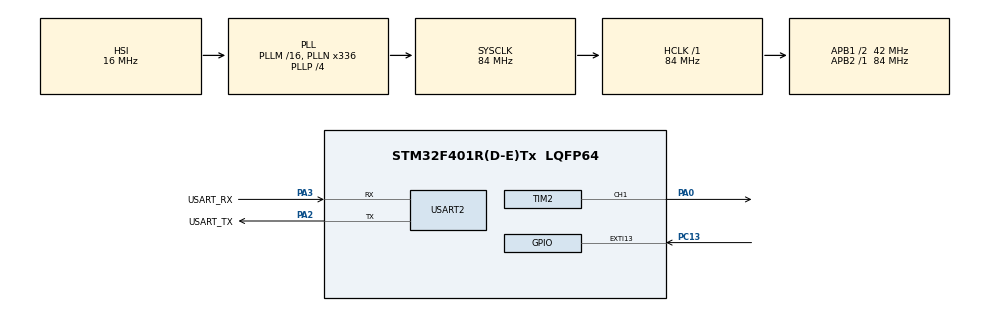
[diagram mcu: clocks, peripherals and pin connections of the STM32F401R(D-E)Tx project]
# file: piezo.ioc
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Mcu.Family=STM32F4
Mcu.Name=STM32F401R(D-E)Tx
Mcu.Package=LQFP64
NVIC.EXTI15_10_IRQn=true\:0\:0\:false\:false\:true\:true\:true
NVIC.PriorityGroup=NVIC_PRIORITYGROUP_0
PA0-WKUP.Signal=S_TIM2_CH1_ETR
PA13.GPIO_Label=TMS
PA13.Mode=Serial_Wire
PA13.Signal=SYS_JTMS-SWDIO
PA14.GPIO_Label=TCK
PA14.Mode=Serial_Wire
PA14.Signal=SYS_JTCK-SWCLK
PA2.GPIO_Label=USART_TX
PA2.GPIO_Mode=GPIO_MODE_AF_PP
PA2.GPIO_PuPd=GPIO_NOPULL
PA2.GPIO_Speed=GPIO_SPEED_FREQ_LOW
PA2.Mode=Asynchronous
PA2.Signal=USART2_TX
PA3.GPIO_Label=USART_RX
PA3.GPIO_Mode=GPIO_MODE_AF_PP
PA3.GPIO_PuPd=GPIO_NOPULL
PA3.GPIO_Speed=GPIO_SPEED_FREQ_LOW
PA3.Mode=Asynchronous
PA3.Signal=USART2_RX
PB3.GPIO_Label=SWO
PB3.Signal=SYS_JTDO-SWO
PC13-ANTI_TAMP.Signal=GPXTI13
PC14-OSC32_IN.Mode=LSE-External-Oscillator
PC14-OSC32_IN.Signal=RCC_OSC32_IN
PC15-OSC32_OUT.Mode=LSE-External-Oscillator
PC15-OSC32_OUT.Signal=RCC_OSC32_OUT
PH0\ -\ OSC_IN.Mode=HSE-External-Clock-Source
PH0\ -\ OSC_IN.Signal=RCC_OSC_IN
PH1\ -\ OSC_OUT.Mode=HSE-External-Clock-Source
PH1\ -\ OSC_OUT.Signal=RCC_OSC_OUT
ProjectManager.HeapSize=0x200
ProjectManager.StackSize=0x400
ProjectManager.TargetToolchain=STM32CubeIDE
RCC.48MHZClocksFreq_Value=48000000
RCC.AHBFreq_Value=84000000
RCC.APB1CLKDivider=RCC_HCLK_DIV2
RCC.APB1Freq_Value=42000000
RCC.APB1TimFreq_Value=84000000
RCC.APB2Freq_Value=84000000
RCC.APB2TimFreq_Value=84000000
RCC.CortexFreq_Value=84000000
RCC.HCLKFreq_Value=84000000
RCC.HSE_VALUE=8000000
RCC.HSI_VALUE=16000000
RCC.PLLN=336
RCC.PLLP=RCC_PLLP_DIV4
RCC.PLLQ=7
RCC.SYSCLKFreq_VALUE=84000000
RCC.SYSCLKSource=RCC_SYSCLKSOURCE_PLLCLK
RCC.VCOOutputFreq_Value=336000000
SH.S_TIM2_CH1_ETR.0=TIM2_CH1,PWM Generation1 CH1
TIM2.Channel-PWM\ Generation1\ CH1=TIM_CHANNEL_1
TIM2.Period=249
TIM2.Prescaler=83
TIM2.Pulse-PWM\ Generation1\ CH1=0
USART2.VirtualMode=VM_ASYNC
board=NUCLEO-F401RE

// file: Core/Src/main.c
/* USER CODE BEGIN Header */
/**
  ******************************************************************************
  * @file           : main.c
  * @brief          : Main program body
  ******************************************************************************
  * @attention
  *
  * <h2><center>&copy; Copyright (c) 2021 STMicroelectronics.
  * All rights reserved.</center></h2>
  *
  * This software component is licensed by ST under BSD 3-Clause license,
  * the "License"; You may not use this file except in compliance with the
  * License. You may obtain a copy of the License at:
  *                        opensource.org/licenses/BSD-3-Clause
  *
  ******************************************************************************
  */
/* USER CODE END Header */
#include "main.h"

TIM_HandleTypeDef htim2;

UART_HandleTypeDef huart2;

void SystemClock_Config(void);
static void MX_GPIO_Init(void);
static void MX_USART2_UART_Init(void);
static void MX_TIM2_Init(void);

/* USER CODE BEGIN 0 */
float noteArray[8] = {262, 294, 330, 349, 392, 440, 494, 523}; //C D E F G A B C
const int C_LOW = 0, D = 1, E = 2, F = 3, G = 4, A = 5, B = 6, C_HIGH = 7;
const int QUARTER = 3000000, HALF = 5000000, FULL = 10000000, BURST = 300000;

void changeFrequency(int note /* Hz */) {
	int arr = 1000000/noteArray[note];

	HAL_TIM_PWM_Stop(&htim2, TIM_CHANNEL_1);
	TIM_OC_InitTypeDef sConfigOC;
	htim2.Init.Period = arr - 1;
	HAL_TIM_PWM_Init(&htim2);

	sConfigOC.OCMode = TIM_OCMODE_PWM1;
	sConfigOC.Pulse = arr/2;
	sConfigOC.OCPolarity = TIM_OCPOLARITY_HIGH;
	sConfigOC.OCFastMode = TIM_OCFAST_DISABLE;
	HAL_TIM_PWM_ConfigChannel(&htim2, &sConfigOC, TIM_CHANNEL_1);

	HAL_TIM_PWM_Start(&htim2, TIM_CHANNEL_1);
}

void delay(int len) {
	int i;
	for (i = 0; i < len; ++i) {}
}

void rest(int len) {
	HAL_TIM_PWM_Stop(&htim2, TIM_CHANNEL_1);
	delay(len);
}

void playNote(int len, int note, int restLen) {
	changeFrequency(note);
	delay(len);
	rest(restLen);
}

void playDeathSound() {
	playNote(HALF, D, BURST);
	playNote(QUARTER, D, BURST);
	playNote(FULL, G, BURST);
	playNote(HALF, D, BURST);
	playNote(QUARTER, G, BURST);
	playNote(FULL, B, BURST);
}

void playHitSound() {
	playNote(QUARTER, C_HIGH, 1);
	playNote(QUARTER, F, 1);
	playNote(QUARTER, C_HIGH, 1);
	playNote(QUARTER, F, 1);
	playNote(QUARTER, C_HIGH, 1);
	playNote(QUARTER, F, 1);
}

void playFireSound() {
	playNote(BURST, C_HIGH, 1);
	playNote(BURST, F, 1);
	playNote(BURST, C_LOW, 1);
}

void HAL_GPIO_EXTI_Callback(uint16_t pin) {
	int select = 0;

	// Death Sound (Taps)
	if (select == 0) {
		playDeathSound();
	}
	// Hit Sound
	else if (select == 1) {
		playHitSound();
	}
	// Fire Sound
	else {
		playFireSound();
	}
}
/* USER CODE END 0 */

int main(void)
{

  /* MCU Configuration--------------------------------------------------------*/

  /* Reset of all peripherals, Initializes the Flash interface and the Systick. */
  HAL_Init();

  /* Configure the system clock */
  SystemClock_Config();

  /* Initialize all configured peripherals */
  MX_GPIO_Init();
  MX_USART2_UART_Init();
  MX_TIM2_Init();

  /* Infinite loop */
  while (1)
  {

  }
}

void SystemClock_Config(void)
{
  RCC_OscInitTypeDef RCC_OscInitStruct = {0};
  RCC_ClkInitTypeDef RCC_ClkInitStruct = {0};

  /** Configure the main internal regulator output voltage
  */
  __HAL_RCC_PWR_CLK_ENABLE();
  __HAL_PWR_VOLTAGESCALING_CONFIG(PWR_REGULATOR_VOLTAGE_SCALE2);
  /** Initializes the RCC Oscillators according to the specified parameters
  * in the RCC_OscInitTypeDef structure.
  */
  RCC_OscInitStruct.OscillatorType = RCC_OSCILLATORTYPE_HSI;
  RCC_OscInitStruct.HSIState = RCC_HSI_ON;
  RCC_OscInitStruct.HSICalibrationValue = RCC_HSICALIBRATION_DEFAULT;
  RCC_OscInitStruct.PLL.PLLState = RCC_PLL_ON;
  RCC_OscInitStruct.PLL.PLLSource = RCC_PLLSOURCE_HSI;
  RCC_OscInitStruct.PLL.PLLM = 16;
  RCC_OscInitStruct.PLL.PLLN = 336;
  RCC_OscInitStruct.PLL.PLLP = RCC_PLLP_DIV4;
  RCC_OscInitStruct.PLL.PLLQ = 7;
  if (HAL_RCC_OscConfig(&RCC_OscInitStruct) != HAL_OK)
  {
    Error_Handler();
  }
  /** Initializes the CPU, AHB and APB buses clocks
  */
  RCC_ClkInitStruct.ClockType = RCC_CLOCKTYPE_HCLK|RCC_CLOCKTYPE_SYSCLK
                              |RCC_CLOCKTYPE_PCLK1|RCC_CLOCKTYPE_PCLK2;
  RCC_ClkInitStruct.SYSCLKSource = RCC_SYSCLKSOURCE_PLLCLK;
  RCC_ClkInitStruct.AHBCLKDivider = RCC_SYSCLK_DIV1;
  RCC_ClkInitStruct.APB1CLKDivider = RCC_HCLK_DIV2;
  RCC_ClkInitStruct.APB2CLKDivider = RCC_HCLK_DIV1;

  if (HAL_RCC_ClockConfig(&RCC_ClkInitStruct, FLASH_LATENCY_2) != HAL_OK)
  {
    Error_Handler();
  }
}

static void MX_TIM2_Init(void)
{

  TIM_MasterConfigTypeDef sMasterConfig = {0};
  TIM_OC_InitTypeDef sConfigOC = {0};

  htim2.Instance = TIM2;
  htim2.Init.Prescaler = 83;
  htim2.Init.CounterMode = TIM_COUNTERMODE_UP;
  htim2.Init.Period = 249;
  htim2.Init.ClockDivision = TIM_CLOCKDIVISION_DIV1;
  htim2.Init.AutoReloadPreload = TIM_AUTORELOAD_PRELOAD_DISABLE;
  if (HAL_TIM_PWM_Init(&htim2) != HAL_OK)
  {
    Error_Handler();
  }
  sMasterConfig.MasterOutputTrigger = TIM_TRGO_RESET;
  sMasterConfig.MasterSlaveMode = TIM_MASTERSLAVEMODE_DISABLE;
  if (HAL_TIMEx_MasterConfigSynchronization(&htim2, &sMasterConfig) != HAL_OK)
  {
    Error_Handler();
  }
  sConfigOC.OCMode = TIM_OCMODE_PWM1;
  sConfigOC.Pulse = 0;
  sConfigOC.OCPolarity = TIM_OCPOLARITY_HIGH;
  sConfigOC.OCFastMode = TIM_OCFAST_DISABLE;
  if (HAL_TIM_PWM_ConfigChannel(&htim2, &sConfigOC, TIM_CHANNEL_1) != HAL_OK)
  {
    Error_Handler();
  }
  HAL_TIM_MspPostInit(&htim2);

}

static void MX_USART2_UART_Init(void)
{

  huart2.Instance = USART2;
  huart2.Init.BaudRate = 115200;
  huart2.Init.WordLength = UART_WORDLENGTH_8B;
  huart2.Init.StopBits = UART_STOPBITS_1;
  huart2.Init.Parity = UART_PARITY_NONE;
  huart2.Init.Mode = UART_MODE_TX_RX;
  huart2.Init.HwFlowCtl = UART_HWCONTROL_NONE;
  huart2.Init.OverSampling = UART_OVERSAMPLING_16;
  if (HAL_UART_Init(&huart2) != HAL_OK)
  {
    Error_Handler();
  }

}

static void MX_GPIO_Init(void)
{
  GPIO_InitTypeDef GPIO_InitStruct = {0};

  /* GPIO Ports Clock Enable */
  __HAL_RCC_GPIOC_CLK_ENABLE();
  __HAL_RCC_GPIOH_CLK_ENABLE();
  __HAL_RCC_GPIOA_CLK_ENABLE();
  __HAL_RCC_GPIOB_CLK_ENABLE();

  /*Configure GPIO pin : PC13 */
  GPIO_InitStruct.Pin = GPIO_PIN_13;
  GPIO_InitStruct.Mode = GPIO_MODE_IT_RISING;
  GPIO_InitStruct.Pull = GPIO_NOPULL;
  HAL_GPIO_Init(GPIOC, &GPIO_InitStruct);

  /* EXTI interrupt init*/
  HAL_NVIC_SetPriority(EXTI15_10_IRQn, 0, 0);
  HAL_NVIC_EnableIRQ(EXTI15_10_IRQn);

}

void Error_Handler(void)
{
  __disable_irq();
  while (1)
  {
  }
}

/************************ (C) COPYRIGHT STMicroelectronics *****END OF FILE****/
